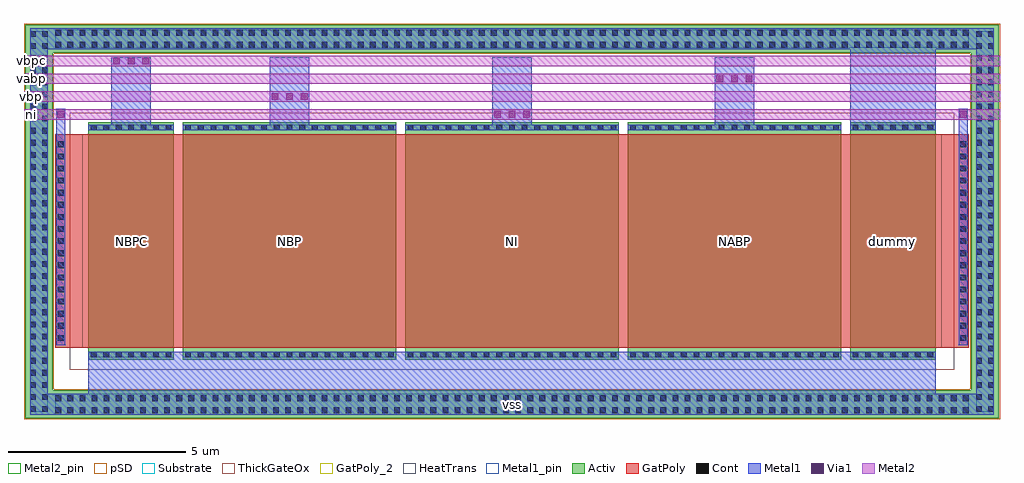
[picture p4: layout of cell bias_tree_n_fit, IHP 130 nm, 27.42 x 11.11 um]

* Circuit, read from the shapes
.subckt bias_tree_n_fit ni vabp vbp vbpc vss
XM1 vbpc ni vss vss sg13_hv_nmos w=2.4u l=6u
XM2 vbp ni vss vss sg13_hv_nmos w=6u l=6u
XM3 ni ni vss vss sg13_hv_nmos w=6u l=6u
XM4 vabp ni vss vss sg13_hv_nmos w=6u l=6u
XM5 vss ni vss vss sg13_hv_nmos w=2.4u l=6u
.ends

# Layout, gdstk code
from math import pi, radians
import gdstk
lib = gdstk.Library(unit=1e-6, precision=1e-09)
def R(c, l, rs):  # rectangles x0, y0, x1, y1
    for r in rs: c.add(gdstk.rectangle(r[:2], r[2:], *l))
def A(c, l, x, y, w, h, nx, ny, dx, dy):  # array of equal rectangles
    R(c, l, [(x+i*dx, y+j*dy, x+i*dx+w, y+j*dy+h) for i in range(nx) for j in range(ny)])
Activ = (1, 0)
GatPoly = (5, 0)
GatPoly_2 = (5, 2)
Cont = (6, 0)
Metal1 = (8, 0)
Metal1_pin = (8, 2)
Metal2 = (10, 0)
Metal2_pin = (10, 2)
pSD = (14, 0)
Via1 = (19, 0)
Substrate = (40, 0)
ThickGateOx = (44, 0)
HeatTrans = (51, 0)

nmoshv_3 = lib.new_cell('nmosHV$3')
R(nmoshv_3, Activ, [(0,0,0.3,0.3), (0,0,6.68,6), (6.38,0,6.68,0.3)])
R(nmoshv_3, GatPoly, [(0.34,-0.18,6.34,6.18)])
R(nmoshv_3, GatPoly_2, [(0.34,-0.18,6.34,6.18)])
A(nmoshv_3, Cont, 0.07, 0.07, 0.16, 0.16, 1, 4, 0, 0.355)
A(nmoshv_3, Cont, 6.45, 0.07, 0.16, 0.16, 1, 4, 0, 0.355)
A(nmoshv_3, Cont, 0.07, 1.495, 0.16, 0.16, 1, 4, 0, 0.355)
A(nmoshv_3, Cont, 6.45, 1.495, 0.16, 0.16, 1, 4, 0, 0.355)
A(nmoshv_3, Cont, 0.07, 2.92, 0.16, 0.16, 1, 4, 0, 0.355)
A(nmoshv_3, Cont, 6.45, 2.92, 0.16, 0.16, 1, 4, 0, 0.355)
A(nmoshv_3, Cont, 0.07, 4.345, 0.16, 0.16, 1, 4, 0, 0.355)
A(nmoshv_3, Cont, 6.45, 4.345, 0.16, 0.16, 1, 4, 0, 0.355)
R(nmoshv_3, Cont, [(0.07,5.77,0.23,5.93), (6.45,5.77,6.61,5.93)])
R(nmoshv_3, Metal1, [(0.07,0,0.23,6), (6.45,0,6.61,6)])
R(nmoshv_3, Metal1_pin, [(0.07,0,0.23,6), (6.45,0,6.61,6)])
R(nmoshv_3, ThickGateOx, [(-0.27,-0.52,6.95,6.52)])
R(nmoshv_3, HeatTrans, [(0.34,-0.18,6.34,6.18)])
nmoshv_3.add(gdstk.Label('nmosHV', (3.34,3), layer=63, texttype=0))
nmoshv_3.add(gdstk.Label('nmosHV', (3.34,3), layer=51, texttype=0))

ptap1_27 = lib.new_cell('ptap1$27')
R(ptap1_27, Activ, [(0,0,25.8,0.78)])
A(ptap1_27, Cont, 0.07, 0.14, 0.16, 0.16, 76, 2, 0.34, 0.34)
R(ptap1_27, Metal1, [(0.07,0.09,25.73,0.69), (0.07,0.14,25.73,0.64)])
R(ptap1_27, Metal1_pin, [(0.07,0.14,25.73,0.64)])
R(ptap1_27, pSD, [(-0.03,-0.03,25.83,0.81)])
R(ptap1_27, Substrate, [(0,0,25.8,0.78)])
ptap1_27.add(gdstk.Label('sub!', (12.9,0.01), layer=63, texttype=0))
ptap1_27.add(gdstk.Label('sub!', (12.9,0.01), layer=40, texttype=0))

ptap1_26 = lib.new_cell('ptap1$26')
R(ptap1_26, Activ, [(0,0,0.78,11.05)])
A(ptap1_26, Cont, 0.14, 0.175, 0.16, 0.16, 1, 32, 0, 0.34)
A(ptap1_26, Cont, 0.48, 0.175, 0.16, 0.16, 1, 32, 0, 0.34)
R(ptap1_26, Metal1, [(0.14,0.125,0.64,10.925), (0.14,0.175,0.64,10.875)])
R(ptap1_26, Metal1_pin, [(0.14,0.175,0.64,10.875)])
R(ptap1_26, pSD, [(-0.03,-0.03,0.81,11.08)])
R(ptap1_26, Substrate, [(0,0,0.78,11.05)])
ptap1_26.add(gdstk.Label('sub!', (0.39,0.01), layer=63, texttype=0))
ptap1_26.add(gdstk.Label('sub!', (0.39,0.01), layer=40, texttype=0))

nmoshv_6 = lib.new_cell('nmosHV$6')
R(nmoshv_6, Activ, [(0,0,0.3,0.3), (0,0,6.68,2.4), (6.38,0,6.68,0.3)])
R(nmoshv_6, GatPoly, [(0.34,-0.18,6.34,2.58)])
R(nmoshv_6, GatPoly_2, [(0.34,-0.18,6.34,2.58)])
A(nmoshv_6, Cont, 0.07, 0.07, 0.16, 0.16, 1, 7, 0, 0.35)
A(nmoshv_6, Cont, 6.45, 0.07, 0.16, 0.16, 1, 7, 0, 0.35)
R(nmoshv_6, Metal1, [(0.07,0,0.23,2.4), (6.45,0,6.61,2.4)])
R(nmoshv_6, Metal1_pin, [(0.07,0,0.23,2.4), (6.45,0,6.61,2.4)])
R(nmoshv_6, ThickGateOx, [(-0.27,-0.52,6.95,2.92)])
R(nmoshv_6, HeatTrans, [(0.34,-0.18,6.34,2.58)])
nmoshv_6.add(gdstk.Label('nmosHV', (3.34,1.2), layer=63, texttype=0))
nmoshv_6.add(gdstk.Label('nmosHV', (3.34,1.2), layer=51, texttype=0))

bias_tree_n_fit = lib.new_cell('bias_tree_n_fit')
R(bias_tree_n_fit, GatPoly, [(-0.93,0.34,-0.18,6.34), (23.98,0.34,24.73,6.34)])
A(bias_tree_n_fit, Cont, -0.86, 0.54, 0.16, 0.16, 1, 17, 0, 0.34)
A(bias_tree_n_fit, Cont, 24.5, 0.54, 0.16, 0.16, 1, 17, 0, 0.34)
A(bias_tree_n_fit, Metal1, 5.095, 6.45, 1.11, 2.055, 3, 1, 6.25, 0)
R(bias_tree_n_fit, Metal1, [(-1.64,-1.545,25.44,-1.51), (-1.24,-1.545,-0.83,-0.945), (0,-1.545,23.8,0.23), (24.63,-1.545,25.04,-0.945), (-0.91,0.41,-0.65,7.055), (24.45,0.41,24.71,7.055), (0.645,6.45,1.755,8.505), (21.4,6.45,23.8,8.825), (-1.24,8.725,-0.83,9.325), (24.63,8.725,25.04,9.325), (-1.64,9.29,25.44,9.325)])
R(bias_tree_n_fit, Metal1_pin, [(-0.93,-1.545,24.73,-0.945)])
A(bias_tree_n_fit, Metal2_pin, -1.81, 6.755, 0.4, 0.29, 1, 4, 0, 0.5)
A(bias_tree_n_fit, Via1, 11.395, 6.805, 0.19, 0.19, 3, 1, 0.41, 0)
A(bias_tree_n_fit, Via1, 5.145, 7.305, 0.19, 0.19, 3, 1, 0.41, 0)
A(bias_tree_n_fit, Via1, 17.645, 7.805, 0.19, 0.19, 3, 1, 0.41, 0)
A(bias_tree_n_fit, Via1, 0.695, 8.305, 0.19, 0.19, 3, 1, 0.41, 0)
R(bias_tree_n_fit, Via1, [(-0.875,6.805,-0.685,6.995), (24.485,6.805,24.675,6.995)])
R(bias_tree_n_fit, ThickGateOx, [(-0.52,-0.27,24.32,6.95)])
bias_tree_n_fit.add(gdstk.FlexPath([(-1.665,6.9),(25.465,6.9)], 0.29, ends="extended", simple_path=True, layer=10, datatype=0))  # Metal2
bias_tree_n_fit.add(gdstk.FlexPath([(-1.665,7.4),(25.465,7.4)], 0.29, ends="extended", simple_path=True, layer=10, datatype=0))  # Metal2
bias_tree_n_fit.add(gdstk.FlexPath([(-1.665,7.9),(25.465,7.9)], 0.29, ends="extended", simple_path=True, layer=10, datatype=0))  # Metal2
bias_tree_n_fit.add(gdstk.FlexPath([(-1.665,8.4),(25.465,8.4)], 0.29, ends="extended", simple_path=True, layer=10, datatype=0))  # Metal2
r = gdstk.Reference(nmoshv_3, (2.65,6.68), rotation=3*pi/2); r.repetition = gdstk.Repetition(1, 3, v1=(0,0), v2=(6.25,0)); bias_tree_n_fit.add(r)
bias_tree_n_fit.add(gdstk.Reference(ptap1_27, (-1,8.635)))
bias_tree_n_fit.add(gdstk.Reference(ptap1_27, (-1,-1.635)))
bias_tree_n_fit.add(gdstk.Reference(ptap1_26, (-1.78,-1.635)))
bias_tree_n_fit.add(gdstk.Reference(ptap1_26, (24.8,-1.635)))
bias_tree_n_fit.add(gdstk.Reference(nmoshv_6, (0,6.68), rotation=3*pi/2))
bias_tree_n_fit.add(gdstk.Reference(nmoshv_6, (21.4,6.68), rotation=3*pi/2))
bias_tree_n_fit.add(gdstk.Label('NBPC', (1.2,3.34), layer=63, texttype=0))
bias_tree_n_fit.add(gdstk.Label('NBP', (5.65,3.34), layer=63, texttype=0))
bias_tree_n_fit.add(gdstk.Label('NI', (11.9,3.34), layer=63, texttype=0))
bias_tree_n_fit.add(gdstk.Label('NABP', (18.15,3.34), layer=63, texttype=0))
bias_tree_n_fit.add(gdstk.Label('dummy', (22.6,3.34), layer=63, texttype=0))
bias_tree_n_fit.add(gdstk.Label('vss', (11.9,-1.245), layer=8, texttype=25))
bias_tree_n_fit.add(gdstk.Label('ni', (-1.61,6.9), layer=10, texttype=25))
bias_tree_n_fit.add(gdstk.Label('vbp', (-1.61,7.4), layer=10, texttype=25))
bias_tree_n_fit.add(gdstk.Label('vabp', (-1.61,7.9), layer=10, texttype=25))
bias_tree_n_fit.add(gdstk.Label('vbpc', (-1.61,8.4), layer=10, texttype=25))

lib.write_gds('bias_tree_n_fit.gds')
